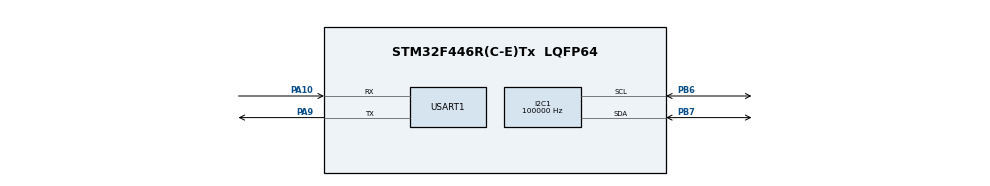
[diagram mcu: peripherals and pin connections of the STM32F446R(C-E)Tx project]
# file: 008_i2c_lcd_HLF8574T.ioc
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Dma.I2C1_RX.1.Direction=DMA_PERIPH_TO_MEMORY
Dma.I2C1_RX.1.FIFOMode=DMA_FIFOMODE_DISABLE
Dma.I2C1_RX.1.Instance=DMA1_Stream0
Dma.I2C1_RX.1.MemDataAlignment=DMA_MDATAALIGN_BYTE
Dma.I2C1_RX.1.MemInc=DMA_MINC_ENABLE
Dma.I2C1_RX.1.Mode=DMA_NORMAL
Dma.I2C1_RX.1.PeriphDataAlignment=DMA_PDATAALIGN_BYTE
Dma.I2C1_RX.1.PeriphInc=DMA_PINC_DISABLE
Dma.I2C1_RX.1.Priority=DMA_PRIORITY_LOW
Dma.I2C1_TX.0.Direction=DMA_MEMORY_TO_PERIPH
Dma.I2C1_TX.0.FIFOMode=DMA_FIFOMODE_DISABLE
Dma.I2C1_TX.0.Instance=DMA1_Stream6
Dma.I2C1_TX.0.MemDataAlignment=DMA_MDATAALIGN_BYTE
Dma.I2C1_TX.0.MemInc=DMA_MINC_ENABLE
Dma.I2C1_TX.0.Mode=DMA_NORMAL
Dma.I2C1_TX.0.PeriphDataAlignment=DMA_PDATAALIGN_BYTE
Dma.I2C1_TX.0.PeriphInc=DMA_PINC_DISABLE
Dma.I2C1_TX.0.Priority=DMA_PRIORITY_LOW
Dma.Request0=I2C1_TX
Dma.Request1=I2C1_RX
I2C1.ClockSpeed=100000
Mcu.Family=STM32F4
Mcu.Name=STM32F446R(C-E)Tx
Mcu.Package=LQFP64
NVIC.DMA1_Stream0_IRQn=true\:0\:0\:false\:false\:true\:false\:true\:true
NVIC.DMA1_Stream6_IRQn=true\:0\:0\:false\:false\:true\:false\:true\:true
NVIC.I2C1_ER_IRQn=true\:0\:0\:false\:false\:true\:true\:true\:true
NVIC.I2C1_EV_IRQn=true\:0\:0\:false\:false\:true\:true\:true\:true
NVIC.PriorityGroup=NVIC_PRIORITYGROUP_4
NVIC.USART1_IRQn=true\:0\:0\:false\:false\:true\:true\:true\:true
PA10.Mode=Asynchronous
PA10.Signal=USART1_RX
PA9.Mode=Asynchronous
PA9.Signal=USART1_TX
PB6.Mode=I2C
PB6.Signal=I2C1_SCL
PB7.Mode=I2C
PB7.Signal=I2C1_SDA
ProjectManager.HeapSize=0x200
ProjectManager.StackSize=0x400
ProjectManager.TargetToolchain=STM32CubeIDE
RCC.CortexFreq_Value=16000000
RCC.USBFreq_Value=96000000
RCC.VCOOutputFreq_Value=192000000
USART1.VirtualMode=VM_ASYNC
board=custom

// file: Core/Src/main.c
/* USER CODE BEGIN Header */
/**
  ******************************************************************************
  * @file           : main.c
  * @brief          : Main program body
  ******************************************************************************
  * @attention
  *
  * Copyright (c) 2025 STMicroelectronics.
  * All rights reserved.
  *
  * This software is licensed under terms that can be found in the LICENSE file
  * in the root directory of this software component.
  * If no LICENSE file comes with this software, it is provided AS-IS.
  *
  ******************************************************************************
  */
/* USER CODE END Header */
#include "main.h"

/* USER CODE BEGIN Includes */
#include "lcd_i2c.h"
#include <stdio.h>
#include <string.h>
/* USER CODE END Includes */

/* USER CODE BEGIN PTD */
#define LCD_I2C_ADDRESS 0x27
/* USER CODE END PTD */

I2C_HandleTypeDef hi2c1;
DMA_HandleTypeDef hdma_i2c1_tx;
DMA_HandleTypeDef hdma_i2c1_rx;

UART_HandleTypeDef huart1;

/* USER CODE BEGIN PV */
uint8_t counter = 0;
/* USER CODE END PV */

void SystemClock_Config(void);
static void MX_GPIO_Init(void);
static void MX_DMA_Init(void);
static void MX_I2C1_Init(void);
static void MX_USART1_UART_Init(void);
/* USER CODE BEGIN PFP */
void LCD_Test_Basic(void);
void LCD_Test_Counter(void);
void LCD_Test_CustomChars(void);
void I2C_Scanner(void);
/* USER CODE END PFP */

int main(void)
{

  /* MCU Configuration--------------------------------------------------------*/

  /* Reset of all peripherals, Initializes the Flash interface and the Systick. */
  HAL_Init();

  /* Configure the system clock */
  SystemClock_Config();

  /* Initialize all configured peripherals */
  MX_GPIO_Init();
  MX_DMA_Init();
  MX_I2C1_Init();
  MX_USART1_UART_Init();
  /* USER CODE BEGIN 2 */
  char uart_msg[] = "STM32F446RE LCD I2C Test Starting...\r\n";
  HAL_UART_Transmit(&huart1, (uint8_t*)uart_msg, strlen(uart_msg), HAL_MAX_DELAY);

  // scan for i2c devices first
  I2C_Scanner();

  // init LCD - try common addresses if 0x27 doesn't work
  if (lcdInit(&hi2c1, LCD_I2C_ADDRESS, 2, 16)) {
    char success_msg[] = "LCD Initialized Successfully!\r\n";
    HAL_UART_Transmit(&huart1, (uint8_t*)success_msg, strlen(success_msg), HAL_MAX_DELAY);

    // LCD tests
    LCD_Test_Basic();
    HAL_Delay(3000);

    LCD_Test_CustomChars();
    HAL_Delay(3000);

  } else {
    char error_msg[] = "LCD Initialization Failed! Check connections and address.\r\n";
    HAL_UART_Transmit(&huart1, (uint8_t*)error_msg, strlen(error_msg), HAL_MAX_DELAY);
  }
  /* USER CODE END 2 */

  /* Infinite loop */
  /* USER CODE BEGIN WHILE */
  while (1)
  {
	  LCD_Test_Counter();
	  HAL_Delay(1000);
    /* USER CODE END WHILE */

  }
}

void SystemClock_Config(void)
{
  RCC_OscInitTypeDef RCC_OscInitStruct = {0};
  RCC_ClkInitTypeDef RCC_ClkInitStruct = {0};

  /** Configure the main internal regulator output voltage
  */
  __HAL_RCC_PWR_CLK_ENABLE();
  __HAL_PWR_VOLTAGESCALING_CONFIG(PWR_REGULATOR_VOLTAGE_SCALE3);

  /** Initializes the RCC Oscillators according to the specified parameters
  * in the RCC_OscInitTypeDef structure.
  */
  RCC_OscInitStruct.OscillatorType = RCC_OSCILLATORTYPE_HSI;
  RCC_OscInitStruct.HSIState = RCC_HSI_ON;
  RCC_OscInitStruct.HSICalibrationValue = RCC_HSICALIBRATION_DEFAULT;
  RCC_OscInitStruct.PLL.PLLState = RCC_PLL_NONE;
  if (HAL_RCC_OscConfig(&RCC_OscInitStruct) != HAL_OK)
  {
    Error_Handler();
  }

  /** Initializes the CPU, AHB and APB buses clocks
  */
  RCC_ClkInitStruct.ClockType = RCC_CLOCKTYPE_HCLK|RCC_CLOCKTYPE_SYSCLK
                              |RCC_CLOCKTYPE_PCLK1|RCC_CLOCKTYPE_PCLK2;
  RCC_ClkInitStruct.SYSCLKSource = RCC_SYSCLKSOURCE_HSI;
  RCC_ClkInitStruct.AHBCLKDivider = RCC_SYSCLK_DIV1;
  RCC_ClkInitStruct.APB1CLKDivider = RCC_HCLK_DIV1;
  RCC_ClkInitStruct.APB2CLKDivider = RCC_HCLK_DIV1;

  if (HAL_RCC_ClockConfig(&RCC_ClkInitStruct, FLASH_LATENCY_0) != HAL_OK)
  {
    Error_Handler();
  }
}

static void MX_I2C1_Init(void)
{

  hi2c1.Instance = I2C1;
  hi2c1.Init.ClockSpeed = 100000;
  hi2c1.Init.DutyCycle = I2C_DUTYCYCLE_2;
  hi2c1.Init.OwnAddress1 = 0;
  hi2c1.Init.AddressingMode = I2C_ADDRESSINGMODE_7BIT;
  hi2c1.Init.DualAddressMode = I2C_DUALADDRESS_DISABLE;
  hi2c1.Init.OwnAddress2 = 0;
  hi2c1.Init.GeneralCallMode = I2C_GENERALCALL_DISABLE;
  hi2c1.Init.NoStretchMode = I2C_NOSTRETCH_DISABLE;
  if (HAL_I2C_Init(&hi2c1) != HAL_OK)
  {
    Error_Handler();
  }

}

static void MX_USART1_UART_Init(void)
{

  huart1.Instance = USART1;
  huart1.Init.BaudRate = 115200;
  huart1.Init.WordLength = UART_WORDLENGTH_8B;
  huart1.Init.StopBits = UART_STOPBITS_1;
  huart1.Init.Parity = UART_PARITY_NONE;
  huart1.Init.Mode = UART_MODE_TX_RX;
  huart1.Init.HwFlowCtl = UART_HWCONTROL_NONE;
  huart1.Init.OverSampling = UART_OVERSAMPLING_16;
  if (HAL_UART_Init(&huart1) != HAL_OK)
  {
    Error_Handler();
  }

}

static void MX_DMA_Init(void)
{

  /* DMA controller clock enable */
  __HAL_RCC_DMA1_CLK_ENABLE();

  /* DMA interrupt init */
  /* DMA1_Stream0_IRQn interrupt configuration */
  HAL_NVIC_SetPriority(DMA1_Stream0_IRQn, 0, 0);
  HAL_NVIC_EnableIRQ(DMA1_Stream0_IRQn);
  /* DMA1_Stream6_IRQn interrupt configuration */
  HAL_NVIC_SetPriority(DMA1_Stream6_IRQn, 0, 0);
  HAL_NVIC_EnableIRQ(DMA1_Stream6_IRQn);

}

static void MX_GPIO_Init(void)
{

  /* GPIO Ports Clock Enable */
  __HAL_RCC_GPIOA_CLK_ENABLE();
  __HAL_RCC_GPIOB_CLK_ENABLE();

}

/* USER CODE BEGIN 4 */
/**
 * @brief Basic LCD test - display text
 */
void LCD_Test_Basic(void) {
    lcdDisplayClear();

    // line 1
    lcdSetCursorPosition(0, 0);
    char line1[] = "STM32F446RE LCD";
    lcdPrintStr((uint8_t*)line1, strlen(line1));

    // line 2
    lcdSetCursorPosition(0, 1);
    char line2[] = "I2C Test Ready!";
    lcdPrintStr((uint8_t*)line2, strlen(line2));

    // test backlight control
    HAL_Delay(1000);
    lcdBacklightOff();
    HAL_Delay(500);
    lcdBacklightOn();
}

/**
 * @brief Counter test - displays incrementing counter
 */
void LCD_Test_Counter(void) {
    char buffer[17];

    lcdSetCursorPosition(0, 1);
    snprintf(buffer, sizeof(buffer), "Counter: %3d    ", counter);
    lcdPrintStr((uint8_t*)buffer, strlen(buffer));

    counter++;
    if (counter > 999) counter = 0;
}

/**
 * @brief Test custom characters
 */
void LCD_Test_CustomChars(void) {
    // define custom characters
    uint8_t heart[8] = {0x00, 0x0A, 0x1F, 0x1F, 0x0E, 0x04, 0x00, 0x00}; // heart
    uint8_t smiley[8] = {0x00, 0x0A, 0x00, 0x04, 0x11, 0x0E, 0x00, 0x00}; // smiley
    uint8_t arrow[8] = {0x08, 0x0C, 0x0E, 0x0F, 0x0E, 0x0C, 0x08, 0x00}; // arrow

    // load custom characters into CGRAM
    lcdLoadCustomChar(0, heart);
    lcdLoadCustomChar(1, smiley);
    lcdLoadCustomChar(2, arrow);

    lcdDisplayClear();

    // display custom characters
    lcdSetCursorPosition(0, 0);
    char line1[] = "Custom Chars:";
    lcdPrintStr((uint8_t*)line1, strlen(line1));

    lcdSetCursorPosition(0, 1);
    lcdPrintChar(0);  // heart
    lcdPrintChar(' ');
    lcdPrintChar(1);  // smiley
    lcdPrintChar(' ');
    lcdPrintChar(2);  // arrow
    lcdPrintChar(' ');
    char text[] = "Works!";
    lcdPrintStr((uint8_t*)text, strlen(text));
}

/**
 * @brief Scan I2C bus for devices
 */
void I2C_Scanner(void) {
    char uart_buffer[64];
    uint8_t devices_found = 0;

    snprintf(uart_buffer, sizeof(uart_buffer), "Scanning I2C bus...\r\n");
    HAL_UART_Transmit(&huart1, (uint8_t*)uart_buffer, strlen(uart_buffer), HAL_MAX_DELAY);

    for (uint8_t address = 1; address < 128; address++) {
        // try to communicate with device
        if (HAL_I2C_IsDeviceReady(&hi2c1, address << 1, 1, 100) == HAL_OK) {
            snprintf(uart_buffer, sizeof(uart_buffer), "Device found at address: 0x%02X\r\n", address);
            HAL_UART_Transmit(&huart1, (uint8_t*)uart_buffer, strlen(uart_buffer), HAL_MAX_DELAY);
            devices_found++;
        }
    }

    if (devices_found == 0) {
        snprintf(uart_buffer, sizeof(uart_buffer), "No I2C devices found! Check connections.\r\n");
        HAL_UART_Transmit(&huart1, (uint8_t*)uart_buffer, strlen(uart_buffer), HAL_MAX_DELAY);
    } else {
        snprintf(uart_buffer, sizeof(uart_buffer), "Scan complete. Found %d device(s).\r\n", devices_found);
        HAL_UART_Transmit(&huart1, (uint8_t*)uart_buffer, strlen(uart_buffer), HAL_MAX_DELAY);
    }
}
/* USER CODE END 4 */

void Error_Handler(void)
{
  __disable_irq();
  while (1)
  {
  }
}
